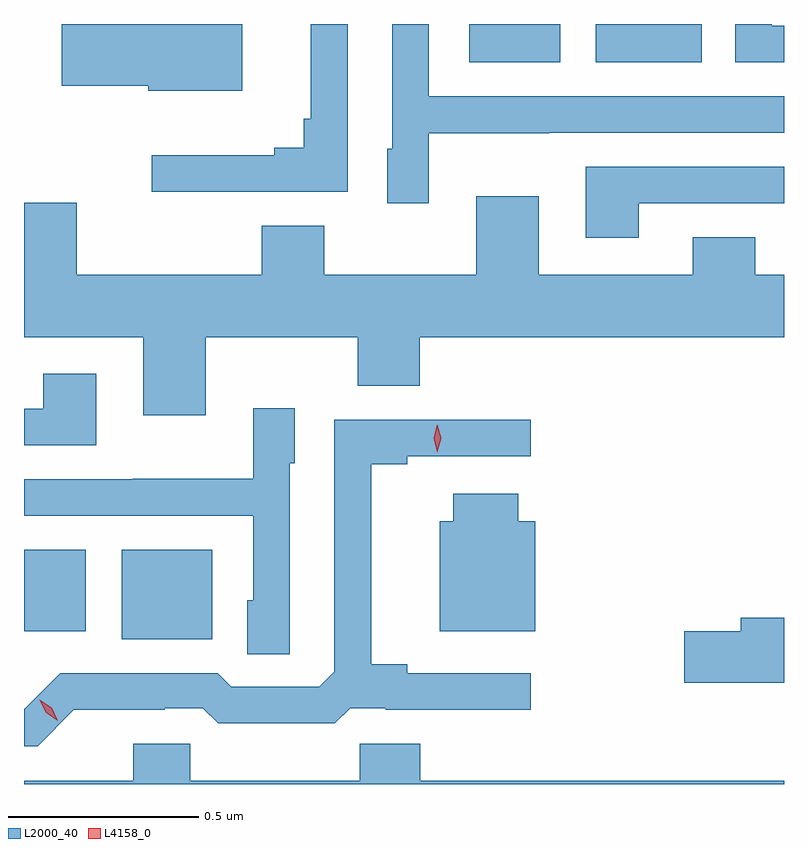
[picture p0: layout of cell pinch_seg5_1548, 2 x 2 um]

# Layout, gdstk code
import gdstk
lib = gdstk.Library(unit=1e-6, precision=1e-09)
def R(c, l, rs):  # rectangles x0, y0, x1, y1
    for r in rs: c.add(gdstk.rectangle(r[:2], r[2:], *l))
def P(c, l, *ps):  # polygons
    for p in ps: c.add(gdstk.Polygon(p, *l))
L2000_40 = (2000, 40)
L4158_0 = (4158, 0)

pinch_seg5_1548 = lib.new_cell('pinch_seg5_1548')
R(pinch_seg5_1548, L2000_40, [(201.254,845.309,201.493,845.545), (200.997,845.33,201.16,845.545), (202.169,846.827,202.408,846.928), (202.502,846.827,202.78,846.928)])
P(pinch_seg5_1548, L2000_40, [(201.849,846.928),(201.752,846.928),(201.752,846.679),(201.733,846.679),(201.733,846.602),(201.656,846.602),(201.656,846.583),(201.333,846.583),(201.333,846.486),(201.849,846.486)],
  [(201.571,846.928),(201.096,846.928),(201.096,846.766),(201.324,846.766),(201.324,846.752),(201.571,846.752)],
  [(202.062,846.641),(202.379,846.641),(202.379,846.642),(202.997,846.642),(202.997,846.738),(202.062,846.738),(202.062,846.928),(201.966,846.928),(201.966,846.6),(201.953,846.6),(201.953,846.456),(202.062,846.456)],
  [(202.997,846.924),(202.965,846.924),(202.965,846.928),(202.869,846.928),(202.869,846.828),(202.997,846.828)],
  [(202.615,846.456),(202.997,846.456),(202.997,846.552),(202.475,846.552),(202.475,846.366),(202.615,846.366)],
  [(201.475,846.104),(201.875,846.104),(201.875,845.976),(202.039,845.976),(202.039,846.104),(202.997,846.104),(202.997,846.268),(202.921,846.268),(202.921,846.367),(202.757,846.367),(202.757,846.268),(202.351,846.268),(202.351,846.475),(202.187,846.475),(202.187,846.268),(201.787,846.268),(201.787,846.397),(201.623,846.397),(201.623,846.268),(201.136,846.268),(201.136,846.457),(200.997,846.457),(200.997,846.104),(201.311,846.104),(201.311,845.898),(201.475,845.898)],
  [(201.187,846.007),(201.047,846.007),(201.047,845.916),(200.997,845.916),(200.997,845.82),(201.187,845.82)],
  [(201.696,845.772),(201.709,845.772),(201.709,845.917),(201.6,845.917),(201.6,845.731),(201.283,845.731),(201.283,845.73),(200.997,845.73),(200.997,845.634),(201.6,845.634),(201.6,845.412),(201.584,845.412),(201.584,845.269),(201.696,845.269)],
  [(201.128,845.123),(201.368,845.123),(201.368,845.127),(201.468,845.127),(201.508,845.088),(201.815,845.088),(201.855,845.127),(201.949,845.127),(201.949,845.123),(202.33,845.123),(202.33,845.22),(202.006,845.22),(202.006,845.243),(201.911,845.243),(201.911,845.77),(202.006,845.77),(202.006,845.79),(202.33,845.79),(202.33,845.886),(201.813,845.886),(201.813,845.223),(201.774,845.184),(201.543,845.184),(201.507,845.22),(201.093,845.22),(200.999,845.126),(200.997,845.126),(200.997,845.028),(201.033,845.028)],
  [(202.342,845.62),(202.298,845.62),(202.298,845.692),(202.127,845.692),(202.127,845.62),(202.091,845.62),(202.091,845.33),(202.342,845.33)],
  [(202.997,845.366),(202.883,845.366),(202.883,845.33),(202.734,845.33),(202.734,845.195),(202.997,845.195)],
  [(202.997,844.936),(202.04,844.936),(202.04,845.034),(201.88,845.034),(201.88,844.936),(201.435,844.936),(201.435,845.034),(201.284,845.034),(201.284,844.936),(200.997,844.936),(200.997,844.928),(202.997,844.928)])
P(pinch_seg5_1548, L4158_0, [(202.085,845.801),(202.085,845.802),(202.075,845.838),(202.085,845.873),(202.085,845.873),(202.085,845.873),(202.095,845.838),(202.085,845.802)],
  [(201.086,845.095),(201.055,845.116),(201.038,845.149),(201.038,845.15),(201.039,845.15),(201.07,845.129),(201.086,845.095),(201.086,845.095)])

lib.write_gds('pinch_seg5_1548.gds')
